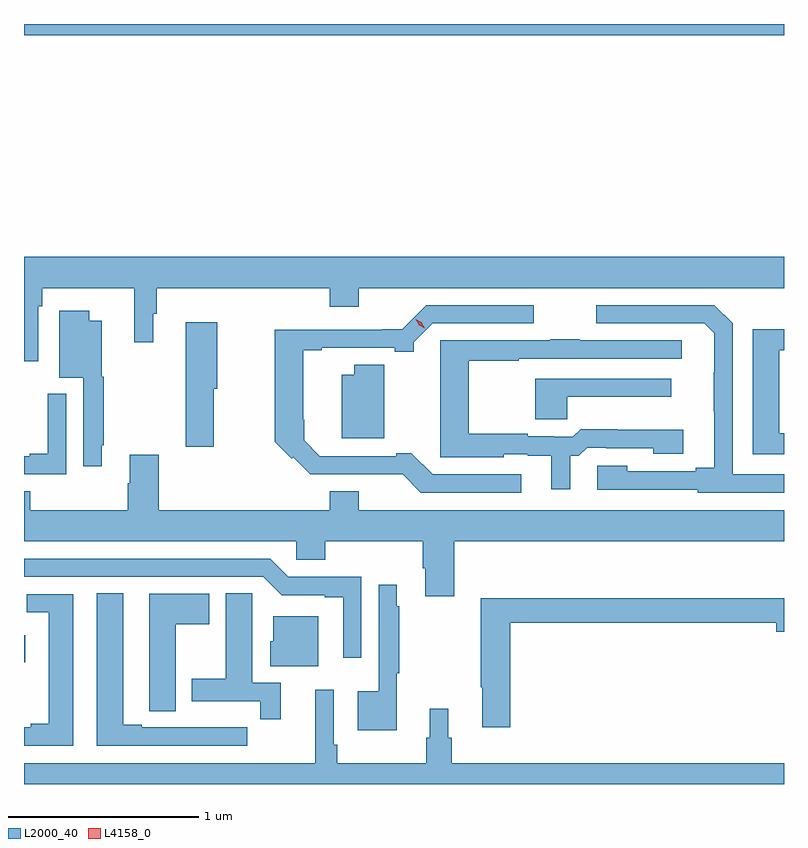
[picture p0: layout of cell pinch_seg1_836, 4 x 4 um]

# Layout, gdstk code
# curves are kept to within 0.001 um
import gdstk
lib = gdstk.Library(unit=1e-6, precision=1e-09)
def R(c, l, rs):  # rectangles x0, y0, x1, y1
    for r in rs: c.add(gdstk.rectangle(r[:2], r[2:], *l))
def P(c, l, *ps):  # polygons
    for p in ps: c.add(gdstk.Polygon(p, *l))
L2000_40 = (2000, 40)
L4158_0 = (4158, 0)

pinch_seg1_836 = lib.new_cell('pinch_seg1_836')
R(pinch_seg1_836, L2000_40, [(422.457,535.112,422.464,535.252), (422.457,538.412,426.457,538.47)])
P(pinch_seg1_836, L2000_40, [(422.532,536.984),(422.552,536.984),(422.552,537.08),(423.037,537.08),(423.037,536.796),(423.136,536.796),(423.136,536.946),(423.155,536.946),(423.155,537.08),(424.067,537.08),(424.067,536.981),(424.219,536.981),(424.219,537.08),(426.457,537.08),(426.457,537.244),(422.457,537.244),(422.457,536.694),(422.532,536.694)],
  [(426.457,536.1),(426.186,536.1),(426.186,536.895),(426.09,536.991),(425.469,536.991),(425.469,536.895),(426.036,536.895),(426.089,536.842),(426.089,536.135),(425.993,536.135),(425.993,536.115),(425.631,536.115),(425.631,536.146),(425.475,536.146),(425.475,536.019),(426.003,536.019),(426.003,536.004),(426.457,536.004)],
  [(425.074,536.1),(424.608,536.1),(424.496,536.212),(424.415,536.212),(424.415,536.196),(424.014,536.196),(423.931,536.28),(423.931,536.386),(423.928,536.386),(423.928,536.754),(424.024,536.754),(424.024,536.766),(424.409,536.766),(424.409,536.746),(424.509,536.746),(424.509,536.796),(424.608,536.895),(425.14,536.895),(425.14,536.991),(424.575,536.991),(424.448,536.864),(424.343,536.864),(424.343,536.862),(423.778,536.862),(423.778,536.272),(423.866,536.183),(423.873,536.191),(423.963,536.1),(424.451,536.099),(424.545,536.004),(425.074,536.004)],
  [(422.866,536.254),(422.878,536.254),(422.878,536.613),(422.866,536.613),(422.866,536.908),(422.8,536.908),(422.8,536.962),(422.642,536.962),(422.642,536.609),(422.769,536.609),(422.769,536.142),(422.866,536.142)],
  [(423.456,536.55),(423.474,536.55),(423.474,536.899),(423.308,536.899),(423.308,536.55),(423.307,536.55),(423.307,536.244),(423.456,536.244)],
  [(426.457,536.315),(426.433,536.315),(426.433,536.754),(426.457,536.754),(426.457,536.864),(426.293,536.864),(426.293,536.206),(426.457,536.206)],
  [(425.332,536.198),(425.378,536.198),(425.421,536.241),(425.521,536.241),(425.521,536.238),(425.77,536.238),(425.77,536.207),(425.926,536.207),(425.926,536.335),(425.579,536.335),(425.579,536.338),(425.386,536.338),(425.346,536.298),(425.246,536.298),(425.246,536.301),(425.109,536.301),(425.109,536.314),(424.797,536.314),(424.797,536.697),(425.06,536.697),(425.06,536.709),(425.92,536.709),(425.92,536.805),(425.381,536.805),(425.381,536.81),(425.227,536.81),(425.227,536.805),(424.649,536.805),(424.649,536.189),(424.983,536.189),(424.983,536.205),(425.109,536.205),(425.109,536.198),(425.231,536.198),(425.231,536.022),(425.332,536.022)],
  [(424.354,536.677),(424.196,536.677),(424.196,536.623),(424.13,536.623),(424.13,536.291),(424.354,536.291)],
  [(425.315,536.507),(425.863,536.507),(425.863,536.604),(425.149,536.604),(425.149,536.391),(425.315,536.391)],
  [(422.679,536.524),(422.582,536.524),(422.582,536.209),(422.486,536.209),(422.486,536.196),(422.457,536.196),(422.457,536.1),(422.679,536.1)],
  [(424.721,535.748),(426.457,535.748),(426.457,535.912),(424.219,535.912),(424.219,536.011),(424.067,536.011),(424.067,535.912),(423.167,535.912),(423.167,536.203),(423.014,536.203),(423.014,536.054),(423.002,536.054),(423.002,535.912),(422.489,535.912),(422.489,536.01),(422.457,536.01),(422.457,535.748),(423.891,535.748),(423.891,535.65),(424.043,535.65),(424.043,535.748),(424.556,535.748),(424.556,535.606),(424.568,535.606),(424.568,535.458),(424.721,535.458)],
  [(424.233,535.56),(423.849,535.56),(423.753,535.656),(422.457,535.656),(422.457,535.56),(423.717,535.56),(423.813,535.464),(424.04,535.464),(424.04,535.452),(424.136,535.452),(424.136,535.134),(424.233,535.134)],
  [(424.42,535.054),(424.432,535.054),(424.432,535.406),(424.42,535.406),(424.42,535.519),(424.323,535.519),(424.323,534.958),(424.214,534.958),(424.214,534.752),(424.42,534.752)],
  [(423.631,534.768),(423.518,534.768),(423.518,534.769),(423.352,534.769),(423.352,534.768),(423.076,534.768),(423.076,534.783),(422.98,534.783),(422.98,535.475),(422.84,535.475),(422.84,534.672),(423.631,534.672)],
  [(423.809,535.002),(423.658,535.002),(423.658,535.364),(423.657,535.364),(423.657,535.475),(423.518,535.475),(423.518,535.023),(423.341,535.023),(423.341,534.906),(423.7,534.906),(423.7,534.81),(423.809,534.81)],
  [(423.256,535.312),(423.433,535.312),(423.433,535.471),(423.116,535.471),(423.116,534.961),(423.117,534.961),(423.117,534.853),(423.256,534.853)],
  [(422.716,535.47),(422.472,535.47),(422.472,535.374),(422.588,535.374),(422.588,534.788),(422.492,534.788),(422.492,534.768),(422.457,534.768),(422.457,534.672),(422.716,534.672)],
  [(425.015,535.318),(426.416,535.318),(426.416,535.271),(426.457,535.271),(426.457,535.447),(424.861,535.447),(424.861,534.98),(424.868,534.98),(424.868,534.768),(425.015,534.768)],
  [(424.006,535.354),(423.77,535.354),(423.77,535.221),(423.752,535.221),(423.752,535.091),(424.006,535.091)],
  [(426.457,534.58),(424.709,534.58),(424.709,534.714),(424.69,534.714),(424.69,534.865),(424.592,534.865),(424.592,534.714),(424.573,534.714),(424.573,534.58),(424.106,534.58),(424.106,534.676),(424.086,534.676),(424.086,534.967),(423.989,534.967),(423.989,534.58),(422.457,534.58),(422.457,534.47),(426.457,534.47)])
P(pinch_seg1_836, L4158_0, [(424.566,536.869),(424.536,536.885),(424.518,536.915),(424.518,536.916),(424.518,536.916),(424.549,536.9),(424.567,536.87),(424.567,536.869)])

lib.write_gds('pinch_seg1_836.gds')
